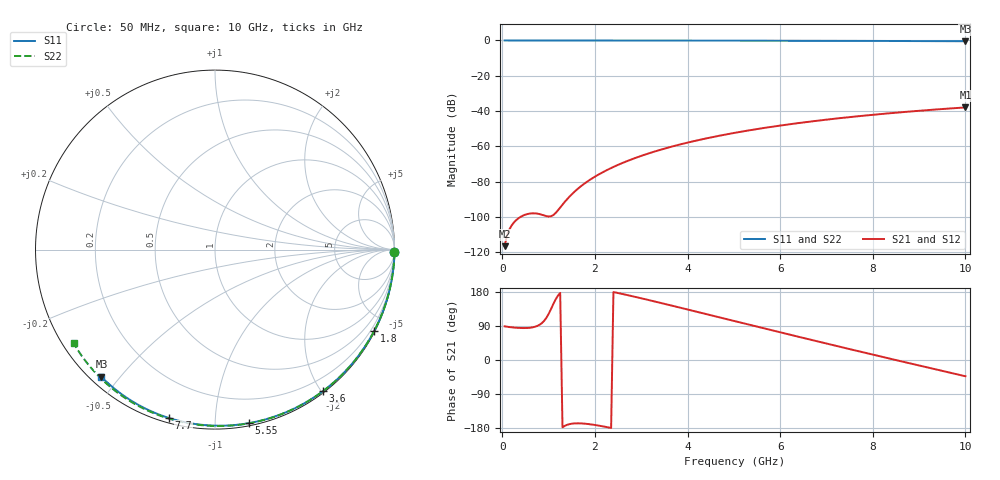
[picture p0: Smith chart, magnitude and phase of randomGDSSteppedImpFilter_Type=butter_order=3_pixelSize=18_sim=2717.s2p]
! freq	dB(S11)	phase(S11)	dB(S12)	phase(S12)
!  dB(S21)	phase(S21)	dB(S22)	phase(S22)
!S-par simulation data
#  GHz  S  DB  R 50
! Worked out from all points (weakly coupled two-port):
!   200 points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, 50 MHz to 10 GHz, reference 50 ohm
!   highest |S21| = -37.91 dB at 10 GHz (marker M1); lowest = -116.5 dB at 50 MHz (marker M2)
!   lowest |S11| = -0.4 dB at 10 GHz (marker M3), VSWR 39.11, Z = 1.53 - j22.4 ohm
!   |S11| at or under -10 dB: nowhere
!   |S22| runs from -0.5 to 0.0 dB; largest |S21 - S12| = 0
!   S11 on the Smith chart (normalised r, x): 50 MHz: open; 1.8 GHz: 0.04, -4.17; 3.6 GHz: 0.02, -2.02; 5.55 GHz: 0.02, -1.22; 7.7 GHz: 0.02, -0.76; 10 GHz: 0.03, -0.45
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0.05  -0.00 -0.8  -116.48 88.9  -116.48 88.9  -0.00 -0.9
0.45  -0.01 -6.8  -99.12 84.3  -99.12 84.3  -0.01 -7.7
0.9  -0.02 -13.6  -99.05 102.8  -99.05 102.8  -0.02 -15.2
1.3  -0.02 -19.6  -92.95 -177.6  -92.95 -177.6  -0.03 -21.9
1.75  -0.03 -26.3  -81.50 -167.7  -81.50 -167.7  -0.04 -29.3
1.8  -0.03 -27.0  -80.54 -168.2  -80.54 -168.2  -0.04 -30.2
1.85  -0.04 -27.7  -79.63 -168.9  -79.63 -168.9  -0.04 -31.0
2.05  -0.04 -30.7  -76.34 -172.5  -76.34 -172.5  -0.04 -34.2
2.2  -0.04 -32.8  -74.19 -175.7  -74.19 -175.7  -0.05 -36.7
2.55  -0.05 -37.9  -69.86 175.4  -69.86 175.4  -0.05 -42.3
2.95  -0.06 -43.6  -65.81 164.3  -65.81 164.3  -0.06 -48.7
3.4  -0.07 -50.0  -62.01 151.2  -62.01 151.2  -0.07 -55.7
3.6  -0.07 -52.8  -60.52 145.3  -60.52 145.3  -0.08 -58.8
4.3  -0.09 -62.4  -56.04 124.3  -56.04 124.3  -0.10 -69.4
5.05  -0.11 -72.4  -52.16 101.7  -52.16 101.7  -0.12 -80.4
5.55  -0.13 -78.8  -49.96 86.6  -49.96 86.6  -0.14 -87.5
6.1  -0.15 -85.8  -47.82 70.1  -47.82 70.1  -0.17 -95.2
6.7  -0.18 -93.3  -45.77 52.3  -45.77 52.3  -0.20 -103.4
7.7  -0.24 -105.3  -42.86 22.9  -42.86 22.9  -0.27 -116.7
8.35  -0.29 -112.9  -41.25 4.1  -41.25 4.1  -0.32 -125.2
9.2  -0.36 -122.7  -39.41 -20.2  -39.41 -20.2  -0.40 -136.1
10  -0.44 -131.8  -37.91 -42.9  -37.91 -42.9  -0.49 -146.4
